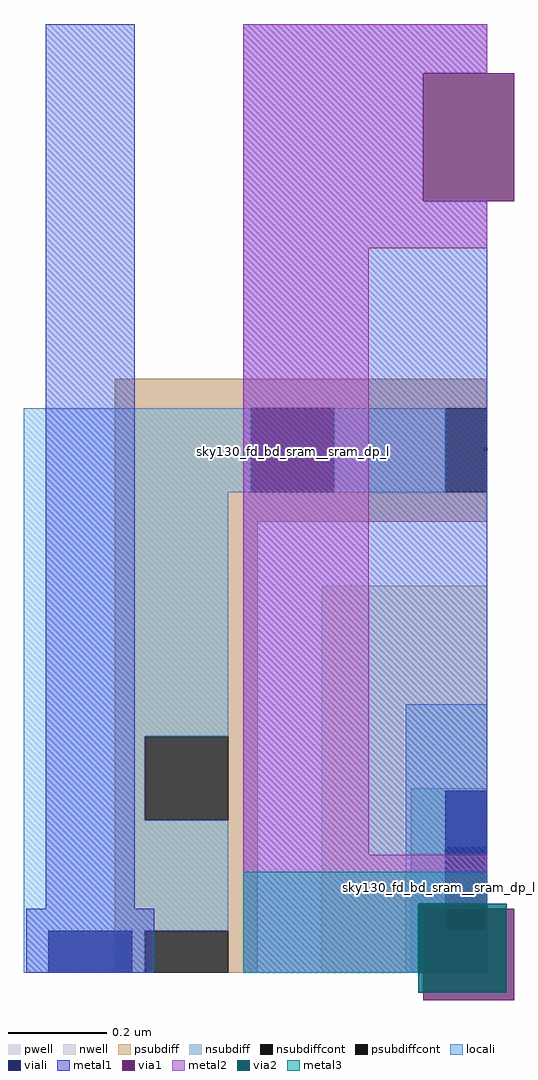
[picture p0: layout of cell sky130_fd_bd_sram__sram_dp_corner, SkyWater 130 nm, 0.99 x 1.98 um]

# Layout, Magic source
magic
tech sky130A
magscale 1 2
<< nwell >>
rect 121 0 188 157
<< pwell >>
rect 37 183 188 241
rect 37 0 95 183
<< psubdiff >>
rect 37 229 188 241
rect 37 195 92 229
rect 126 195 171 229
rect 37 183 188 195
rect 37 96 95 183
rect 37 62 49 96
rect 83 62 95 96
rect 37 17 95 62
rect 37 0 49 17
rect 83 0 95 17
<< nsubdiff >>
rect 157 51 188 75
rect 157 17 171 51
rect 157 0 188 17
<< psubdiffcont >>
rect 92 195 126 229
rect 171 195 188 229
rect 49 62 83 96
rect 49 0 83 17
<< nsubdiffcont >>
rect 171 17 188 51
<< locali >>
rect 0 195 92 229
rect 126 195 171 229
rect 0 96 83 195
rect 0 62 49 96
rect 0 17 83 62
rect 0 0 49 17
rect 155 51 188 109
rect 155 17 171 51
rect 155 0 188 17
<< metal1 >>
rect 9 316 45 385
rect 89 365 188 385
rect 89 313 162 365
rect 89 26 188 313
rect 89 0 162 26
<< via1 >>
rect 162 313 199 365
rect 162 -11 199 26
<< metal2 >>
rect 89 365 188 385
rect 89 313 162 365
rect 89 294 188 313
rect 89 48 140 294
rect 89 28 188 48
rect 89 0 160 28
<< via2 >>
rect 160 26 196 28
rect 160 -8 162 26
rect 162 -8 196 26
<< metal3 >>
rect 89 28 188 41
rect 89 0 160 28
use sky130_fd_bd_sram__sram_dp_mcon_05  sky130_fd_bd_sram__sram_dp_mcon_05_0
transform 0 -1 188 1 0 57
box -17 0 17 17
use sky130_fd_bd_sram__sram_dp_rowend_strp  sky130_fd_bd_sram__sram_dp_rowend_strp_0
transform 1 0 11 0 1 0
box -10 0 42 316
use sky130_fd_bd_sram__sram_dp_licon_1  sky130_fd_bd_sram__sram_dp_licon_1_0
transform 1 0 109 0 1 212
box 0 -1 1 1
use sky130_fd_bd_sram__sram_dp_licon_05  sky130_fd_bd_sram__sram_dp_licon_05_0
transform 0 -1 188 1 0 212
box 0 0 1 1
use sky130_fd_bd_sram__sram_dp_licon_05  sky130_fd_bd_sram__sram_dp_licon_05_1
transform 0 -1 188 1 0 34
box 0 0 1 1
<< properties >>
string GDS_FILE sky130_fd_bd_sram__sram_dp_corner.gds
string GDS_END 2670
string GDS_START 1114
<< end >>

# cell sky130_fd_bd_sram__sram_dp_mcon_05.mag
magic
tech sky130A
magscale 1 2
<< viali >>
rect -17 0 17 17
<< properties >>
string GDS_FILE sky130_fd_bd_sram__sram_dp_mcon_05.gds
string GDS_END 226
string GDS_START 158
<< end >>

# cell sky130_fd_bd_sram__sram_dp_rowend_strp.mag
magic
tech sky130A
<< metal1 >>
rect -1 79 17 158
use sky130_fd_bd_sram__sram_dp_rowend_strp_cont  sky130_fd_bd_sram__sram_dp_rowend_strp_cont_0
transform 1 0 0 0 1 0
box -5 0 21 79
<< properties >>
string GDS_FILE sky130_fd_bd_sram__sram_dp_rowend_strp.gds
string GDS_END 720
string GDS_START 584
<< end >>

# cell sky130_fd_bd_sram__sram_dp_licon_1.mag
magic
tech sky130A
magscale 1 2
use sky130_fd_bd_sram__sram_dp_licon_05  sky130_fd_bd_sram__sram_dp_licon_05_0
transform 1 0 0 0 -1 0
box 0 0 1 1
use sky130_fd_bd_sram__sram_dp_licon_05  sky130_fd_bd_sram__sram_dp_licon_05_1
transform 1 0 0 0 1 0
box 0 0 1 1
<< properties >>
string GDS_FILE sky130_fd_bd_sram__sram_dp_licon_1.gds
string GDS_END 424
string GDS_START 294
<< end >>

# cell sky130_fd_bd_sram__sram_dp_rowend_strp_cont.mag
magic
tech sky130A
magscale 1 2
<< metal1 >>
rect -2 26 34 158
rect -10 0 42 26
use sky130_fd_bd_sram__sram_dp_mcon_05  sky130_fd_bd_sram__sram_dp_mcon_05_0
transform -1 0 16 0 1 0
box -17 0 17 17
<< properties >>
string GDS_FILE sky130_fd_bd_sram__sram_dp_rowend_strp_cont.gds
string GDS_END 520
string GDS_START 312
<< end >>
